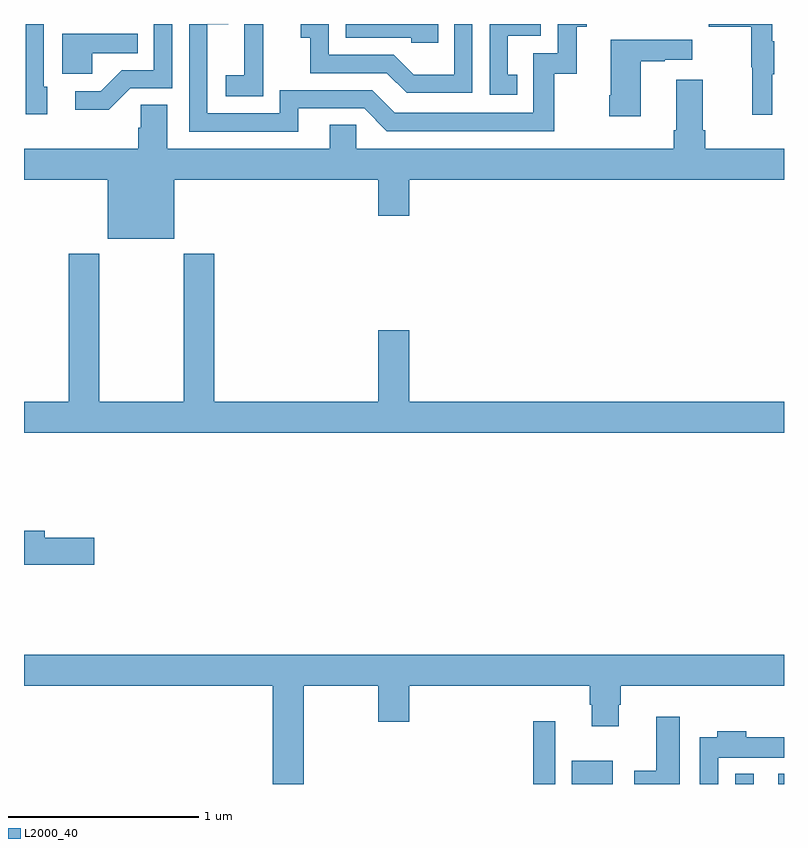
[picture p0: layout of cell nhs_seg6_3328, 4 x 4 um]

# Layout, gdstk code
import gdstk
lib = gdstk.Library(unit=1e-6, precision=1e-09)
def R(c, l, rs):  # rectangles x0, y0, x1, y1
    for r in rs: c.add(gdstk.rectangle(r[:2], r[2:], *l))
def P(c, l, *ps):  # polygons
    for p in ps: c.add(gdstk.Polygon(p, *l))
L2000_40 = (2000, 40)

nhs_seg6_3328 = lib.new_cell('nhs_seg6_3328')
R(nhs_seg6_3328, L2000_40, [(309.679,933.5,309.795,933.829), (309.884,933.5,310.099,933.622), (310.743,933.5,310.84,933.553), (310.97,933.5,311,933.553)])
P(nhs_seg6_3328, L2000_40, [(309.36,937.5),(309.264,937.5),(309.264,937.234),(309.05,937.234),(308.946,937.338),(308.604,937.338),(308.604,937.5),(308.457,937.5),(308.457,937.427),(308.506,937.427),(308.506,937.242),(308.909,937.242),(309.014,937.137),(309.36,937.137)],
  [(308.259,937.327),(308.258,937.327),(308.258,937.5),(308.16,937.5),(308.16,937.46),(308.159,937.46),(308.159,937.231),(308.061,937.231),(308.061,937.121),(308.259,937.121)],
  [(307.56,937.161),(307.779,937.161),(307.779,937.5),(307.683,937.5),(307.683,937.257),(307.514,937.257),(307.403,937.146),(307.269,937.146),(307.269,937.049),(307.447,937.049)],
  [(310.937,937.235),(310.948,937.235),(310.948,937.409),(310.937,937.409),(310.937,937.5),(310.603,937.5),(310.603,937.486),(310.827,937.486),(310.827,937.272),(310.834,937.272),(310.834,937.023),(310.937,937.023)],
  [(309.596,937.233),(309.547,937.233),(309.547,937.437),(309.72,937.437),(309.72,937.5),(309.45,937.5),(309.45,937.128),(309.596,937.128)],
  [(308.443,937.056),(308.79,937.056),(308.91,936.936),(309.79,936.936),(309.79,937.239),(309.908,937.239),(309.908,937.485),(309.961,937.485),(309.961,937.5),(309.81,937.5),(309.81,937.347),(309.681,937.347),(309.681,937.032),(308.952,937.032),(308.832,937.152),(308.346,937.152),(308.346,937.029),(307.965,937.029),(307.965,937.498),(308.075,937.498),(308.075,937.5),(307.869,937.5),(307.869,936.933),(308.443,936.933)],
  [(307.123,937.17),(307.104,937.17),(307.104,937.474),(307.105,937.474),(307.105,937.5),(307.008,937.5),(307.008,937.026),(307.123,937.026)],
  [(309.179,937.5),(308.694,937.5),(308.694,937.428),(309.039,937.428),(309.039,937.401),(309.179,937.401)],
  [(307.359,937.346),(307.598,937.346),(307.598,937.45),(307.202,937.45),(307.202,937.238),(307.359,937.238)],
  [(310.246,937.303),(310.373,937.303),(310.373,937.313),(310.516,937.313),(310.516,937.417),(310.088,937.417),(310.088,937.126),(310.081,937.126),(310.081,937.014),(310.246,937.014)],
  [(307.792,936.68),(308.864,936.68),(308.864,936.492),(309.028,936.492),(309.028,936.68),(311,936.68),(311,936.844),(310.586,936.844),(310.586,936.94),(310.573,936.94),(310.573,937.207),(310.433,937.207),(310.433,936.94),(310.421,936.94),(310.421,936.844),(308.748,936.844),(308.748,936.971),(308.609,936.971),(308.609,936.844),(307.753,936.844),(307.753,937.076),(307.614,937.076),(307.614,936.953),(307.601,936.953),(307.601,936.844),(307,936.844),(307,936.68),(307.442,936.68),(307.442,936.371),(307.792,936.371)],
  [(311,935.512),(309.028,935.512),(309.028,935.887),(308.864,935.887),(308.864,935.512),(308,935.512),(308,936.292),(307.84,936.292),(307.84,935.512),(307.395,935.512),(307.395,936.292),(307.235,936.292),(307.235,935.512),(307,935.512),(307,935.348),(311,935.348)],
  [(307.369,934.796),(307.108,934.796),(307.108,934.832),(307,934.832),(307,934.654),(307.369,934.654)],
  [(308.473,934.016),(308.864,934.016),(308.864,933.828),(309.028,933.828),(309.028,934.016),(309.977,934.016),(309.977,933.918),(309.989,933.918),(309.989,933.804),(310.129,933.804),(310.129,933.918),(310.142,933.918),(310.142,934.016),(311,934.016),(311,934.18),(307,934.18),(307,934.016),(308.309,934.016),(308.309,933.5),(308.473,933.5)],
  [(310.45,933.853),(310.328,933.853),(310.328,933.57),(310.211,933.57),(310.211,933.5),(310.45,933.5)],
  [(310.653,933.638),(311,933.638),(311,933.745),(310.802,933.745),(310.802,933.778),(310.649,933.778),(310.649,933.745),(310.557,933.745),(310.557,933.5),(310.653,933.5)])

lib.write_gds('nhs_seg6_3328.gds')
